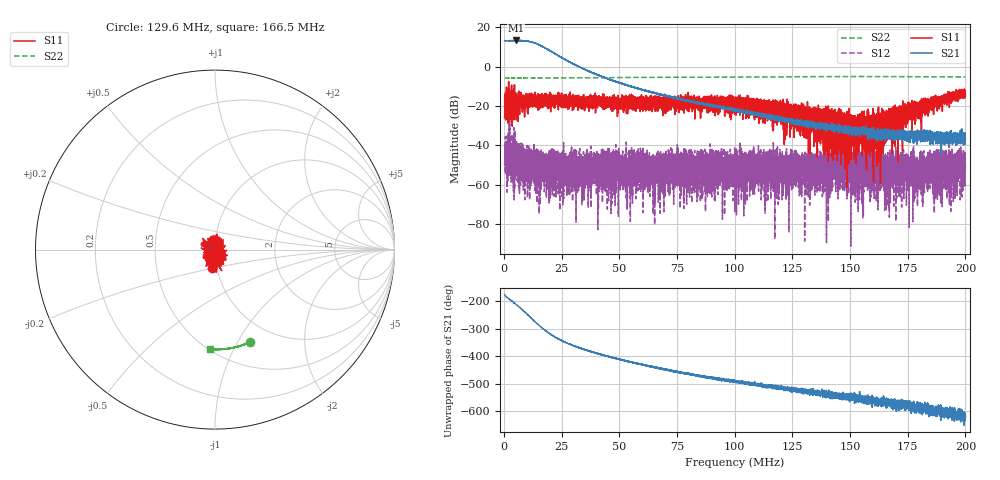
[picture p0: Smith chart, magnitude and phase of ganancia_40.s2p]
# Hz S DB R 50
! CMT, M5065, 19127446, 24.2.4/2
! Date: 11/8/2024 4:08:37 PM
! Data: Format (Calibration Info)
! Freq	S11:dB/Ang(F2)	S21:dB/Ang(F2)	S12:dB/Ang(F2)	S22:dB/Ang(F2)
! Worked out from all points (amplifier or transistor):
!   9000 points, 300 kHz to 200 MHz, reference 50 ohm
!   highest |S21| = 13.2 dB at 5.226 MHz (marker M1)
!   |S21| within 3 dB of that: start of sweep to 16.56 MHz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
!   unconditionally stable (mu >= 1): start of sweep to end of sweep
!   at 33.59 MHz: K = 87.15, MAG = 0.7 dB, |S12| = -47.0 dB
!   at 100.2 MHz: K = 1384.65, MAG = -20.8 dB, |S12| = -49.7 dB
!   at 200 MHz: K = 6632.71, MAG = -34.6 dB, |S12| = -49.5 dB
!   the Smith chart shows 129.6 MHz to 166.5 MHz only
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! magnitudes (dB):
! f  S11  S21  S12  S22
! 300 kHz  -26.0  13.1  -50.5  -5.8
! 1.343 MHz  -15.4  13.1  -52.7  -5.8
! 5.226 MHz  -17.8  13.2  -45.8  -5.9
! 14.26 MHz  -16.1  11.5  -54.8  -5.8
! 33.59 MHz  -17.1  -0.7  -47.0  -5.7
! 39.62 MHz  -19.9  -3.9  -53.0  -5.7
! 41.64 MHz  -16.4  -4.7  -52.0  -5.7
! 51.36 MHz  -19.0  -8.8  -47.5  -5.6
! 53.8 MHz  -18.9  -9.7  -59.1  -5.6
! 58.44 MHz  -16.7  -11.1  -54.3  -5.5
! 66.87 MHz  -20.1  -14.1  -45.2  -5.5
! 100.2 MHz  -15.6  -22.4  -49.7  -5.4
! 133.4 MHz  -28.3  -28.2  -51.2  -5.1
! 140.7 MHz  -25.5  -30.3  -46.5  -5.1
! 143.6 MHz  -29.9  -30.9  -52.6  -5.1
! 149.6 MHz  -30.1  -34.7  -47.2  -5.1
! 155.4 MHz  -28.3  -33.1  -52.9  -5.1
! 163.9 MHz  -26.1  -34.1  -43.5  -5.1
! 166.7 MHz  -29.0  -35.7  -57.1  -5.1
! 184.8 MHz  -20.0  -34.2  -47.1  -5.2
! 187.2 MHz  -16.5  -34.5  -58.7  -5.3
! 200 MHz  -14.8  -36.3  -49.5  -5.3
